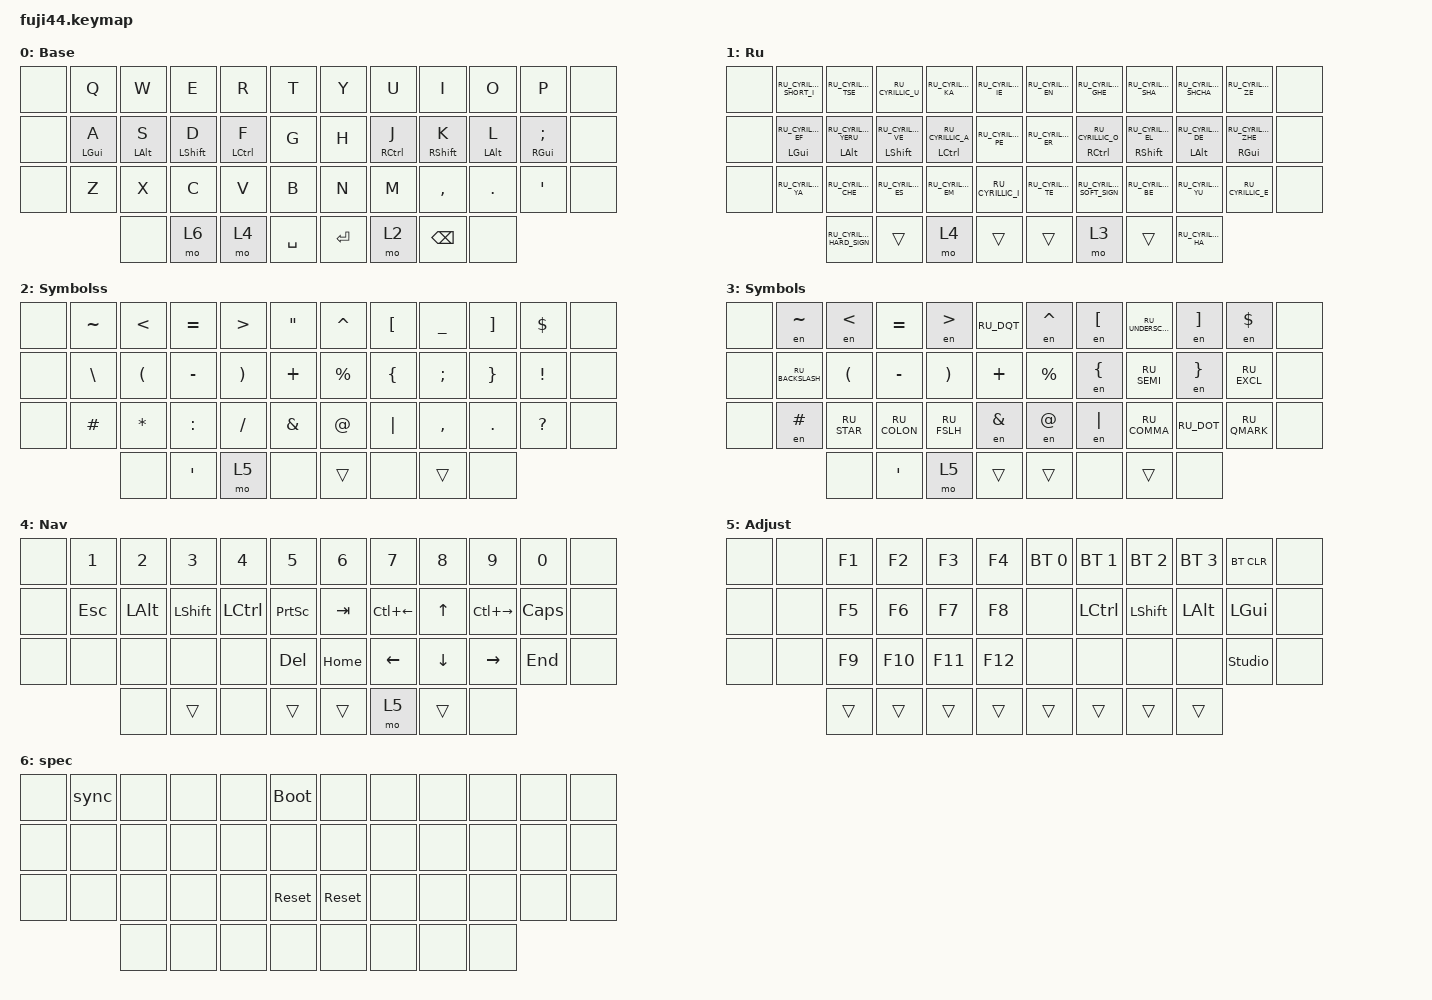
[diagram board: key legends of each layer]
#include "keys_ru.h"
#include "keys_ru.h"
#include <behaviors.dtsi>
#include <dt-bindings/zmk/bt.h>
#include <dt-bindings/zmk/keys.h>

&mt {
    quick-tap-ms = <200>;
    require-prior-idle-ms = <125>;
    flavor = "tap-preferred";
};

/ {
    behaviors {
        hml: homerow_mod_left {
            compatible = "zmk,behavior-hold-tap";
            label = "HML";
            #binding-cells = <2>;
            flavor = "balanced";
            tapping-term-ms = <280>;
            quick-tap-ms = <175>;
            require-prior-idle-ms = <150>;
            bindings = <&kp>, <&kp>;

            hold-trigger-key-positions = <6 7 8 9 10 11 18 19 20 21 22 23 30 31 32 33 34 35 41 42 43 40>;
            hold-trigger-on-release;
        };

        hmr: homerow_mod_right {
            compatible = "zmk,behavior-hold-tap";
            label = "HMR";
            #binding-cells = <2>;
            flavor = "balanced";
            tapping-term-ms = <280>;
            quick-tap-ms = <175>;
            require-prior-idle-ms = <150>;
            bindings = <&kp>, <&kp>;

            hold-trigger-key-positions = <0 1 2 3 4 5 12 13 14 15 16 17 24 25 26 27 28 29 36 37 38 39>;
            hold-trigger-on-release;
        };

        lg_space: lg_space {
            compatible = "zmk,behavior-mod-morph";
            label = "LG_SPACE";
            bindings = <&kp SPACE>, <&lg_tog>;

            #binding-cells = <0>;
            mods = <(MOD_LGUI)>;
        };
    };

    combos {
        compatible = "zmk,combos";

        cmben {
            bindings = <&layer_en>;
            key-positions = <25 26>;
            layers = <1>;
        };

        cmbru {
            bindings = <&layer_ru>;
            key-positions = <33 34>;
            layers = <0>;
        };
    };

    macros {
        to_ru: to_ru {
            compatible = "zmk,behavior-macro";
            #binding-cells = <0>;
            bindings = <&kp LG(SPACE)>;
            label = "TO_RU";
            wait-ms = <5>;
            tap-ms = <5>;
        };

        to_en: to_en {
            compatible = "zmk,behavior-macro";
            #binding-cells = <0>;
            bindings = <&kp LG(SPACE)>;
            label = "TO_EN";
            wait-ms = <5>;
            tap-ms = <5>;
        };

        layer_en: layer_en {
            compatible = "zmk,behavior-macro";
            #binding-cells = <0>;
            bindings = <&to 0 &to_en>;
            label = "LAYER_EN";
            wait-ms = <5>;
            tap-ms = <5>;
        };

        layer_ru: layer_ru {
            compatible = "zmk,behavior-macro";
            #binding-cells = <0>;
            bindings = <&to 1 &to_ru>;
            label = "LAYER_RU";
            wait-ms = <5>;
            tap-ms = <5>;
        };

        en: en {
            compatible = "zmk,behavior-macro-one-param";
            #binding-cells = <1>;
            bindings =
                <&to_en>,
                <&macro_press>,
                <&macro_param_1to1 &kp MACRO_PLACEHOLDER>,
                <&macro_pause_for_release>,
                <&macro_release>,
                <&macro_param_1to1 &kp MACRO_PLACEHOLDER>,
                <&macro_tap>,
                <&to_ru>;

            label = "EN";
            wait-ms = <5>;
            tap-ms = <5>;
        };

        lg_tog: lg_tog {
            compatible = "zmk,behavior-macro";
            #binding-cells = <0>;
            bindings = <&kp LG(SPACE) &tog 1>;
            label = "LG_TOG";
            tap-ms = <5>;
        };

        sync: sync {
            compatible = "zmk,behavior-macro";
            #binding-cells = <0>;
            bindings = <&layer_ru &layer_ru>;
            label = "SYNC";
            wait-ms = <5>;
            tap-ms = <5>;
        };
    };

    keymap {
        compatible = "zmk,keymap";

        en {
            display-name = "Base";
            bindings = <
&none  &kp Q        &kp W        &kp E          &kp R         &kp T        &kp Y    &kp U         &kp I         &kp O        &kp P                &none
&none  &hml LGUI A  &hml LALT S  &hml LSHIFT D  &hml LCTRL F  &kp G        &kp H    &hmr RCTRL J  &hmr RSHFT K  &hmr LALT L  &hmr RGUI SEMICOLON  &none
&none  &kp Z        &kp X        &kp C          &kp V         &kp B        &kp N    &kp M         &kp COMMA     &kp DOT      &kp SQT              &none
                    &none        &mo 6          &mo 4         &kp SPACE    &kp RET  &mo 2         &kp BSPC      &none
            >;
        };

        ru {
            bindings = <
&none  &kp RU_CYRILLIC_SHORT_I   &kp RU_CYRILLIC_TSE         &kp RU_CYRILLIC_U           &kp RU_CYRILLIC_KA        &kp RU_CYRILLIC_IE    &kp RU_CYRILLIC_EN  &kp RU_CYRILLIC_GHE        &kp RU_CYRILLIC_SHA        &kp RU_CYRILLIC_SHCHA     &kp RU_CYRILLIC_ZE         &none
&none  &hml LGUI RU_CYRILLIC_EF  &hml LALT RU_CYRILLIC_YERU  &hml LSHIFT RU_CYRILLIC_VE  &hml LCTRL RU_CYRILLIC_A  &kp RU_CYRILLIC_PE    &kp RU_CYRILLIC_ER  &hmr RCTRL RU_CYRILLIC_O   &hml RSHFT RU_CYRILLIC_EL  &hmr LALT RU_CYRILLIC_DE  &hmr RGUI RU_CYRILLIC_ZHE  &none
&none  &kp RU_CYRILLIC_YA        &kp RU_CYRILLIC_CHE         &kp RU_CYRILLIC_ES          &kp RU_CYRILLIC_EM        &kp RU_CYRILLIC_I     &kp RU_CYRILLIC_TE  &kp RU_CYRILLIC_SOFT_SIGN  &kp RU_CYRILLIC_BE         &kp RU_CYRILLIC_YU        &kp RU_CYRILLIC_E          &none
                                 &kp RU_CYRILLIC_HARD_SIGN   &trans                      &mo 4                     &trans                &trans              &mo 3                      &trans                     &kp RU_CYRILLIC_HA
            >;

            label = "Ru";
        };

        sym_en {
            bindings = <
&none  &kp TILDE  &kp LESS_THAN  &kp EQUAL  &kp GREATER_THAN  &kp DQT     &kp CARET  &kp LBKT  &kp UNDERSCORE  &kp RBKT  &kp DOLLAR  &none
&none  &kp BSLH   &kp LPAR       &kp MINUS  &kp RPAR          &kp PLUS    &kp PRCNT  &kp LBRC  &kp SEMI        &kp RBRC  &kp EXCL    &none
&none  &kp HASH   &kp STAR       &kp COLON  &kp FSLH          &kp AMPS    &kp AT     &kp PIPE  &kp COMMA       &kp DOT   &kp QMARK   &none
                  &none          &kp SQT    &mo 5             &none       &trans     &none     &trans          &none
            >;

            label = "Symbolss";
        };

        sym_ru {
            bindings = <
&none  &en TILDE         &en LESS_THAN  &kp EQUAL     &en GREATER_THAN  &kp RU_DQT    &en CARET  &en LBKT  &kp RU_UNDERSCORE  &en RBKT    &en DOLLAR    &none
&none  &kp RU_BACKSLASH  &kp LPAR       &kp MINUS     &kp RPAR          &kp PLUS      &kp PRCNT  &en LBRC  &kp RU_SEMI        &en RBRC    &kp RU_EXCL   &none
&none  &en HASH          &kp RU_STAR    &kp RU_COLON  &kp RU_FSLH       &en AMPS      &en AT     &en PIPE  &kp RU_COMMA       &kp RU_DOT  &kp RU_QMARK  &none
                         &none          &kp SQT       &mo 5             &trans        &trans     &none     &trans             &none
            >;

            label = "Symbols";
        };

        nav {
            bindings = <
&none  &kp N1   &kp N2    &kp N3     &kp N4     &kp N5        &kp N6    &kp N7              &kp N8          &kp N9               &kp N0        &none
&none  &kp ESC  &kp LALT  &kp LSHFT  &kp LCTRL  &kp PSCRN     &kp TAB   &kp LC(LEFT_ARROW)  &kp UP_ARROW    &kp LC(RIGHT_ARROW)  &kp CAPSLOCK  &none
&none  &none    &none     &none      &none      &kp DELETE    &kp HOME  &kp LEFT_ARROW      &kp DOWN_ARROW  &kp RIGHT_ARROW      &kp END       &none
                &none     &trans     &none      &trans        &trans    &mo 5               &trans          &none
            >;

            label = "Nav";
        };

        adj {
            bindings = <
&none  &none  &kp F1  &kp F2   &kp F3   &kp F4     &bt BT_SEL 0  &bt BT_SEL 1  &bt BT_SEL 2    &bt BT_SEL 3  &bt BT_CLR      &none
&none  &none  &kp F5  &kp F6   &kp F7   &kp F8     &none         &kp LCTRL     &kp LEFT_SHIFT  &kp LALT      &kp LGUI        &none
&none  &none  &kp F9  &kp F10  &kp F11  &kp F12    &none         &none         &none           &none         &studio_unlock  &none
              &trans  &trans   &trans   &trans     &trans        &trans        &trans          &trans
            >;

            label = "Adjust";
        };

        spec {
            bindings = <
&none  &sync  &none  &none  &none  &bootloader    &none       &none  &none  &none  &none  &none
&none  &none  &none  &none  &none  &none          &none       &none  &none  &none  &none  &none
&none  &none  &none  &none  &none  &sys_reset     &sys_reset  &none  &none  &none  &none  &none
              &none  &none  &none  &none          &none       &none  &none  &none
            >;
        };
    };
};
